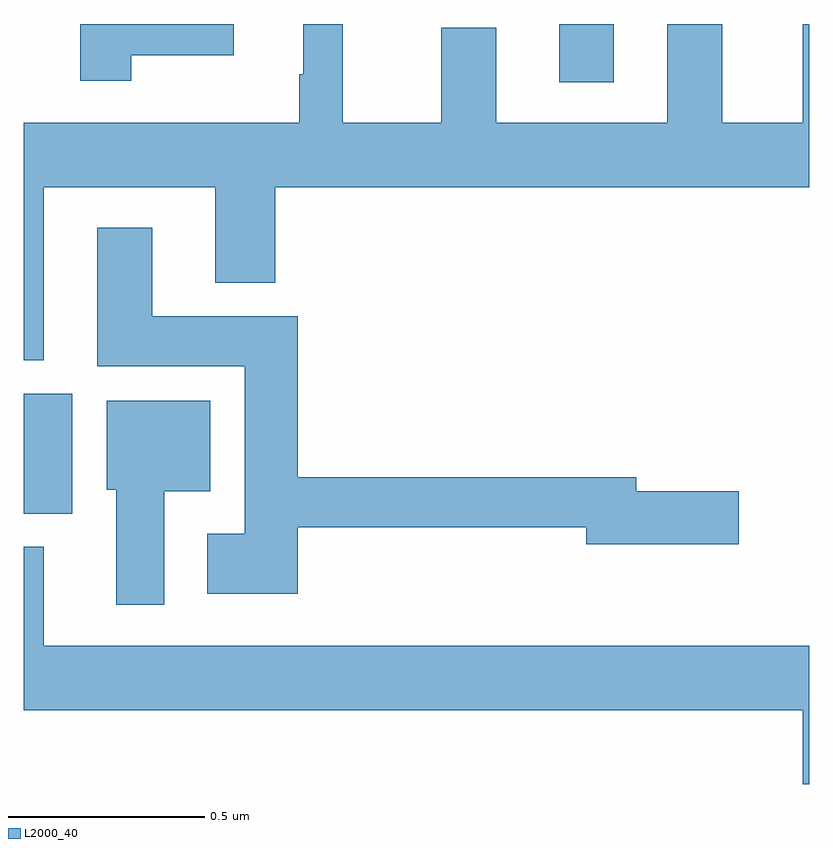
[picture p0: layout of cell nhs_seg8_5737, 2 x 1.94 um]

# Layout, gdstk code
import gdstk
lib = gdstk.Library(unit=1e-6, precision=1e-09)
def R(c, l, rs):  # rectangles x0, y0, x1, y1
    for r in rs: c.add(gdstk.rectangle(r[:2], r[2:], *l))
def P(c, l, *ps):  # polygons
    for p in ps: c.add(gdstk.Polygon(p, *l))
L2000_40 = (2000, 40)

nhs_seg8_5737 = lib.new_cell('nhs_seg8_5737')
R(nhs_seg8_5737, L2000_40, [(187,1131.653,187.123,1131.958), (188.363,1132.752,188.503,1132.9)])
P(nhs_seg8_5737, L2000_40, [(187.051,1132.484),(187.487,1132.484),(187.487,1132.241),(187.64,1132.241),(187.64,1132.484),(189,1132.484),(189,1132.9),(188.984,1132.9),(188.984,1132.648),(188.779,1132.648),(188.779,1132.9),(188.639,1132.9),(188.639,1132.648),(188.203,1132.648),(188.203,1132.891),(188.063,1132.891),(188.063,1132.648),(187.812,1132.648),(187.812,1132.9),(187.712,1132.9),(187.712,1132.772),(187.701,1132.772),(187.701,1132.648),(187,1132.648),(187,1132.043),(187.051,1132.043)],
  [(187.273,1132.82),(187.534,1132.82),(187.534,1132.9),(187.144,1132.9),(187.144,1132.755),(187.273,1132.755)],
  [(187.697,1131.618),(188.432,1131.618),(188.432,1131.575),(188.821,1131.575),(188.821,1131.71),(188.56,1131.71),(188.56,1131.746),(187.697,1131.746),(187.697,1132.156),(187.327,1132.156),(187.327,1132.381),(187.187,1132.381),(187.187,1132.028),(187.562,1132.028),(187.562,1131.601),(187.467,1131.601),(187.467,1131.449),(187.697,1131.449)],
  [(187.357,1131.71),(187.474,1131.71),(187.474,1131.94),(187.211,1131.94),(187.211,1131.714),(187.235,1131.714),(187.235,1131.42),(187.357,1131.42)],
  [(189,1131.316),(187.051,1131.316),(187.051,1131.568),(187,1131.568),(187,1131.152),(188.984,1131.152),(188.984,1130.964),(189,1130.964)])

lib.write_gds('nhs_seg8_5737.gds')
